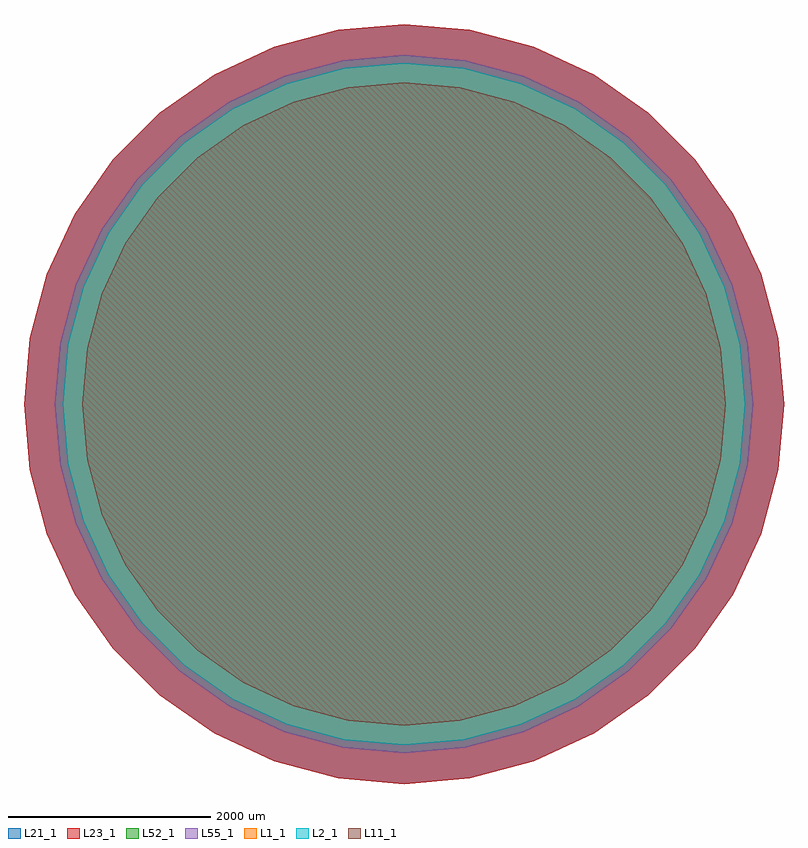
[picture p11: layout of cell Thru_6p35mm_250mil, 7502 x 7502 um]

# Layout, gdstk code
import gdstk
lib = gdstk.Library(unit=1e-6, precision=1e-09)
def P(c, l, *ps):  # polygons
    for p in ps: c.add(gdstk.Polygon(p, *l))
L1_1 = (1, 1)
L2_1 = (2, 1)
L11_1 = (11, 1)
L21_1 = (21, 1)
L23_1 = (23, 1)
L52_1 = (52, 1)
L55_1 = (55, 1)

thru_6p35mm_250mil = lib.new_cell('Thru_6p35mm_250mil')
P(thru_6p35mm_250mil, L1_1, [(3370,0),(3318.802,-585.194),(3166.764,-1152.608),(2918.506,-1685),(2581.57,-2166.194),(2166.194,-2581.57),(1685,-2918.506),(1152.608,-3166.764),(585.194,-3318.802),(0,-3370),(-585.194,-3318.802),(-1152.608,-3166.764),(-1685,-2918.506),(-2166.194,-2581.57),(-2581.57,-2166.194),(-2918.506,-1685),(-3166.764,-1152.608),(-3318.802,-585.194),(-3370,0),(-3318.802,585.194),(-3166.764,1152.608),(-2918.506,1685),(-2581.57,2166.194),(-2166.194,2581.57),(-1685,2918.506),(-1152.608,3166.764),(-585.194,3318.802),(0,3370),(585.194,3318.802),(1152.608,3166.764),(1685,2918.506),(2166.194,2581.57),(2581.57,2166.194),(2918.506,1685),(3166.764,1152.608),(3318.802,585.194)])
P(thru_6p35mm_250mil, L2_1, [(3370,0),(3318.802,-585.194),(3166.764,-1152.608),(2918.506,-1685),(2581.57,-2166.194),(2166.194,-2581.57),(1685,-2918.506),(1152.608,-3166.764),(585.194,-3318.802),(0,-3370),(-585.194,-3318.802),(-1152.608,-3166.764),(-1685,-2918.506),(-2166.194,-2581.57),(-2581.57,-2166.194),(-2918.506,-1685),(-3166.764,-1152.608),(-3318.802,-585.194),(-3370,0),(-3318.802,585.194),(-3166.764,1152.608),(-2918.506,1685),(-2581.57,2166.194),(-2166.194,2581.57),(-1685,2918.506),(-1152.608,3166.764),(-585.194,3318.802),(0,3370),(585.194,3318.802),(1152.608,3166.764),(1685,2918.506),(2166.194,2581.57),(2581.57,2166.194),(2918.506,1685),(3166.764,1152.608),(3318.802,585.194)])
P(thru_6p35mm_250mil, L11_1, [(3175,0),(3126.765,-551.333),(2983.524,-1085.914),(2749.631,-1587.5),(2432.191,-2040.851),(2040.851,-2432.191),(1587.5,-2749.631),(1085.914,-2983.524),(551.333,-3126.765),(0,-3175),(-551.333,-3126.765),(-1085.914,-2983.524),(-1587.5,-2749.631),(-2040.851,-2432.191),(-2432.191,-2040.851),(-2749.631,-1587.5),(-2983.524,-1085.914),(-3126.765,-551.333),(-3175,0),(-3126.765,551.333),(-2983.524,1085.914),(-2749.631,1587.5),(-2432.191,2040.851),(-2040.851,2432.191),(-1587.5,2749.631),(-1085.914,2983.524),(-551.333,3126.765),(0,3175),(551.333,3126.765),(1085.914,2983.524),(1587.5,2749.631),(2040.851,2432.191),(2432.191,2040.851),(2749.631,1587.5),(2983.524,1085.914),(3126.765,551.333)])
P(thru_6p35mm_250mil, L21_1, [(3751,0),(3694.014,-651.354),(3524.787,-1282.918),(3248.461,-1875.5),(2873.433,-2411.096),(2411.096,-2873.433),(1875.5,-3248.461),(1282.918,-3524.787),(651.354,-3694.014),(0,-3751),(-651.354,-3694.014),(-1282.918,-3524.787),(-1875.5,-3248.461),(-2411.096,-2873.433),(-2873.433,-2411.096),(-3248.461,-1875.5),(-3524.787,-1282.918),(-3694.014,-651.354),(-3751,0),(-3694.014,651.354),(-3524.787,1282.918),(-3248.461,1875.5),(-2873.433,2411.096),(-2411.096,2873.433),(-1875.5,3248.461),(-1282.918,3524.787),(-651.354,3694.014),(0,3751),(651.354,3694.014),(1282.918,3524.787),(1875.5,3248.461),(2411.096,2873.433),(2873.433,2411.096),(3248.461,1875.5),(3524.787,1282.918),(3694.014,651.354)])
P(thru_6p35mm_250mil, L23_1, [(3751,0),(3694.014,-651.354),(3524.787,-1282.918),(3248.461,-1875.5),(2873.433,-2411.096),(2411.096,-2873.433),(1875.5,-3248.461),(1282.918,-3524.787),(651.354,-3694.014),(0,-3751),(-651.354,-3694.014),(-1282.918,-3524.787),(-1875.5,-3248.461),(-2411.096,-2873.433),(-2873.433,-2411.096),(-3248.461,-1875.5),(-3524.787,-1282.918),(-3694.014,-651.354),(-3751,0),(-3694.014,651.354),(-3524.787,1282.918),(-3248.461,1875.5),(-2873.433,2411.096),(-2411.096,2873.433),(-1875.5,3248.461),(-1282.918,3524.787),(-651.354,3694.014),(0,3751),(651.354,3694.014),(1282.918,3524.787),(1875.5,3248.461),(2411.096,2873.433),(2873.433,2411.096),(3248.461,1875.5),(3524.787,1282.918),(3694.014,651.354)])
P(thru_6p35mm_250mil, L52_1, [(3446,0),(3393.648,-598.392),(3238.181,-1178.601),(2984.324,-1723),(2639.789,-2215.046),(2215.046,-2639.789),(1723,-2984.324),(1178.601,-3238.181),(598.392,-3393.648),(0,-3446),(-598.392,-3393.648),(-1178.601,-3238.181),(-1723,-2984.324),(-2215.046,-2639.789),(-2639.789,-2215.046),(-2984.324,-1723),(-3238.181,-1178.601),(-3393.648,-598.392),(-3446,0),(-3393.648,598.392),(-3238.181,1178.601),(-2984.324,1723),(-2639.789,2215.046),(-2215.046,2639.789),(-1723,2984.324),(-1178.601,3238.181),(-598.392,3393.648),(0,3446),(598.392,3393.648),(1178.601,3238.181),(1723,2984.324),(2215.046,2639.789),(2639.789,2215.046),(2984.324,1723),(3238.181,1178.601),(3393.648,598.392)])
P(thru_6p35mm_250mil, L55_1, [(3446,0),(3393.648,-598.392),(3238.181,-1178.601),(2984.324,-1723),(2639.789,-2215.046),(2215.046,-2639.789),(1723,-2984.324),(1178.601,-3238.181),(598.392,-3393.648),(0,-3446),(-598.392,-3393.648),(-1178.601,-3238.181),(-1723,-2984.324),(-2215.046,-2639.789),(-2639.789,-2215.046),(-2984.324,-1723),(-3238.181,-1178.601),(-3393.648,-598.392),(-3446,0),(-3393.648,598.392),(-3238.181,1178.601),(-2984.324,1723),(-2639.789,2215.046),(-2215.046,2639.789),(-1723,2984.324),(-1178.601,3238.181),(-598.392,3393.648),(0,3446),(598.392,3393.648),(1178.601,3238.181),(1723,2984.324),(2215.046,2639.789),(2639.789,2215.046),(2984.324,1723),(3238.181,1178.601),(3393.648,598.392)])
thru_6p35mm_250mil.add(gdstk.FlexPath([(51.952,0.213),(-48.048,0.213)], 0, ends="round", simple_path=True, layer=1, datatype=1))  # L1_1
thru_6p35mm_250mil.add(gdstk.FlexPath([(1.952,-49.787),(1.952,50.213)], 0, ends="round", simple_path=True, layer=1, datatype=1))  # L1_1
thru_6p35mm_250mil.add(gdstk.FlexPath([(-48.048,0.213),(51.952,0.213)], 0, ends="round", simple_path=True, layer=1, datatype=1))  # L1_1
thru_6p35mm_250mil.add(gdstk.FlexPath([(1.952,50.213),(1.952,-49.787)], 0, ends="round", simple_path=True, layer=1, datatype=1))  # L1_1
thru_6p35mm_250mil.add(gdstk.FlexPath([(51.952,0.213),(-48.048,0.213)], 0, ends="round", simple_path=True, layer=1, datatype=1))  # L1_1
thru_6p35mm_250mil.add(gdstk.FlexPath([(1.952,50.213),(1.952,-49.787)], 0, ends="round", simple_path=True, layer=1, datatype=1))  # L1_1
thru_6p35mm_250mil.add(gdstk.FlexPath([(-48.048,0.213),(51.952,0.213)], 0, ends="round", simple_path=True, layer=1, datatype=1))  # L1_1
thru_6p35mm_250mil.add(gdstk.FlexPath([(1.952,-49.787),(1.952,50.213)], 0, ends="round", simple_path=True, layer=1, datatype=1))  # L1_1

lib.write_gds('Thru_6p35mm_250mil.gds')
